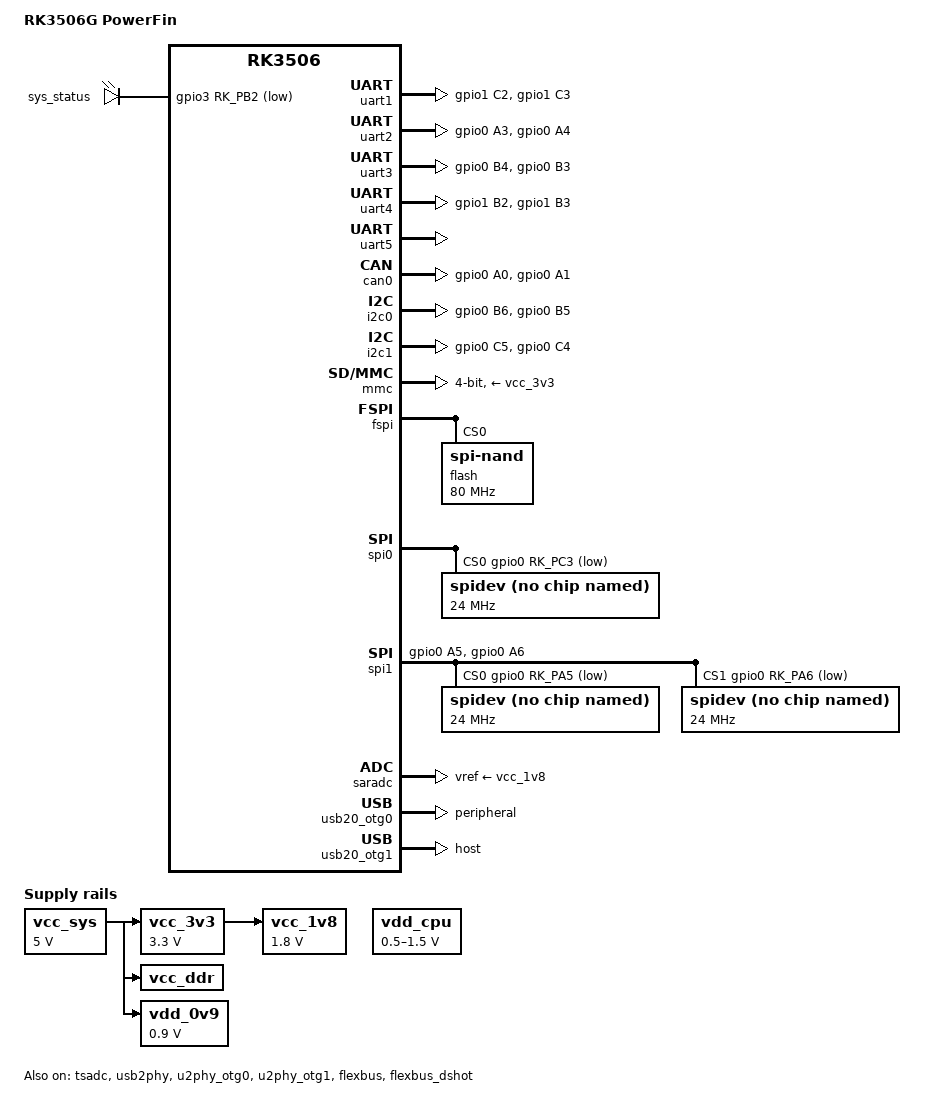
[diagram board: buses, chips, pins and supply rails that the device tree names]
// SPDX-License-Identifier: (GPL-2.0+ OR MIT)
/*
 * Copyright (c) 2024 Rockchip Electronics Co., Ltd.
 *
 * RK3506G PowerFin 飞控板 DTS (SD卡启动)
 *
 * RM_IO pinctrl 编码: func = 15 + RM_IO_index
 * 参考: RK3506_TRM_Part1_V1.2, Table 1-9 RM_IO Function List
 */

/dts-v1/;

#include "rk3506.dtsi"
#include "rk3506-pinctrl.dtsi"
#include <dt-bindings/mfd/rockchip-flexbus.h>
#include <dt-bindings/pinctrl/rockchip.h>
#include <dt-bindings/input/rk-input.h>
#include <dt-bindings/sensor-dev.h>

/ {
	model = "RK3506G PowerFin";
	compatible = "rockchip,rk3506g-powerfin", "rockchip,rk3506";

	chosen {
		bootargs = "earlycon=uart8250,mmio32,0xff0a0000 console=ttyFIQ0 storagemedia=sd root=/dev/mmcblk0p3 rootfstype=ext4 rootwait";
	};

	/* ================================================================
	 * 电源
	 * ================================================================ */
	vcc_sys: vcc-sys {
		compatible = "regulator-fixed";
		regulator-name = "vcc_sys";
		regulator-always-on;
		regulator-boot-on;
		regulator-min-microvolt = <5000000>;
		regulator-max-microvolt = <5000000>;
	};

	vcc_3v3: vcc-3v3 {
		compatible = "regulator-fixed";
		regulator-name = "vcc_3v3";
		regulator-always-on;
		regulator-boot-on;
		regulator-min-microvolt = <3300000>;
		regulator-max-microvolt = <3300000>;
		vin-supply = <&vcc_sys>;
	};

	vcc_1v8: vcc-1v8 {
		compatible = "regulator-fixed";
		regulator-name = "vcc_1v8";
		regulator-always-on;
		regulator-boot-on;
		regulator-min-microvolt = <1800000>;
		regulator-max-microvolt = <1800000>;
		vin-supply = <&vcc_3v3>;
	};

	vcc_ddr: vcc-ddr {
		compatible = "regulator-fixed";
		regulator-name = "vcc_ddr";
		regulator-always-on;
		regulator-boot-on;
		vin-supply = <&vcc_sys>;
	};

	vdd_0v9: vdd-0v9 {
		compatible = "regulator-fixed";
		regulator-name = "vdd_0v9";
		regulator-always-on;
		regulator-boot-on;
		regulator-min-microvolt = <900000>;
		regulator-max-microvolt = <900000>;
		vin-supply = <&vcc_sys>;
	};

	vdd_cpu: vdd-cpu {
		compatible = "regulator-fixed";
		regulator-name = "vdd_cpu";
		regulator-boot-on;
		regulator-always-on;
		regulator-min-microvolt = <500000>;
		regulator-max-microvolt = <1500000>;
	};

	/* ================================================================
	 * ADC 按键 (SARADC ch1 = Pin62)
	 * ================================================================ */
	adc_keys: adc-keys {
		compatible = "adc-keys";
		io-channels = <&saradc 1>;
		io-channel-names = "buttons";
		keyup-threshold-microvolt = <1800000>;
		poll-interval = <100>;
	};

	/* ================================================================
	 * FIQ Debugger (UART0)
	 * ================================================================ */
	fiq_debugger: fiq-debugger {
		compatible = "rockchip,fiq-debugger";
		rockchip,serial-id = <0>;
		rockchip,wake-irq = <0>;
		rockchip,irq-mode-enable = <1>;
		rockchip,baudrate = <1500000>;	/* Only 115200 and 1500000 */
		interrupts = <GIC_SPI 115 IRQ_TYPE_LEVEL_HIGH>;
		status = "okay";
	};

	/* ================================================================
	 * LED — GPIO3_B2 (Pin30: LED_SIG), 低电平点亮
	 * ================================================================ */
	leds: leds {
		compatible = "gpio-leds";
		pinctrl-names = "default";
		pinctrl-0 = <&led_sig_pin>;

		status_led: status-led {
			label = "sys_status";
			gpios = <&gpio3 RK_PB2 GPIO_ACTIVE_LOW>;
			linux,default-trigger = "heartbeat";
		};
	};
};

/* ====================================================================
 * CPU
 * ==================================================================== */
&cpu0 {
	cpu-supply = <&vdd_cpu>;
	status = "okay";
};

/* ====================================================================
 * UART0 — 控制台 (Pin123: UART0_RX / Pin124: UART0_TX)
 * 直接功能: GPIO0_C7 func=1 / GPIO0_C6 func=1
 * ==================================================================== */
/* UART0 pin mux — 参考 Luckfox Lyra, pinctrl 由 fiq-debugger 自行处理 */
&uart0 {
	status = "disabled";
};

/* ====================================================================
 * UART1 (Pin106: GPIO1_C2_d=RM_IO27→UART1_RX / Pin107: GPIO1_C3_d=RM_IO28→UART1_TX)
 * RM_IO: UART1_RX idx=2, UART1_TX idx=1
 * ==================================================================== */
&uart1 {
	pinctrl-names = "default";
	pinctrl-0 = <&uart1_rm_pins>;
	status = "okay";
};

/* ====================================================================
 * UART2 (Pin18: GPIO0_A3_d=RM_IO3→UART2_RX / Pin17: GPIO0_A4_d=RM_IO4→UART2_TX)
 * RM_IO: UART2_RX idx=4, UART2_TX idx=3
 * ==================================================================== */
&uart2 {
	pinctrl-names = "default";
	pinctrl-0 = <&uart2_rm_pins>;
	status = "okay";
};

/* ====================================================================
 * UART3 (Pin6: GPIO0_B4_d=RM_IO12→UART3_RX / Pin7: GPIO0_B3_d=RM_IO11→UART3_TX)
 * RM_IO: UART3_RX idx=6, UART3_TX idx=5
 * ⚠️ Pin40/41 (SD_D3/D2) 也与 UART3_RX/TX 共享网络，不要同时使能
 * ==================================================================== */
&uart3 {
	pinctrl-names = "default";
	pinctrl-0 = <&uart3_rm_pins>;
	status = "okay";
};

/* ====================================================================
 * UART4 (Pin97: GPIO1_B2_d=RM_IO25→UART4_RX / Pin98: GPIO1_B3_d=RM_IO26→UART4_TX)
 * RM_IO: UART4_RX idx=10, UART4_TX idx=9
 * ==================================================================== */
&uart4 {
	pinctrl-names = "default";
	pinctrl-0 = <&uart4_rm_pins>;
	status = "okay";
};

/* ====================================================================
 * UART5 (Pin29: GPIO3_B3→UART5_RX_M0 / Pin28: GPIO3_B4→UART5_TX_M0)
 * 直接功能: GPIO3_B3/B4 func=1
 * ==================================================================== */
&uart5 {
	pinctrl-names = "default";
	pinctrl-0 = <&uart5m0_xfer_pins>;
	status = "okay";
};

/* ====================================================================
 * CAN0 (Pin21: GPIO0_A0_u=RM_IO0→CAN0_TX / Pin20: GPIO0_A1_d=RM_IO1→CAN0_RX)
 * RM_IO: CAN0_TX idx=28, CAN0_RX idx=29
 * ==================================================================== */
&can0 {
	pinctrl-names = "default";
	pinctrl-0 = <&can0_rm_pins>;
	status = "okay";
};

/* ====================================================================
 * I2C0 (Pin4: GPIO0_B6_d=RM_IO14→I2C0_SDA / Pin5: GPIO0_B5_d=RM_IO13→I2C0_SCL)
 * RM_IO: I2C0_SDA idx=16, I2C0_SCL idx=15
 * ==================================================================== */
&i2c0 {
	pinctrl-names = "default";
	pinctrl-0 = <&i2c0_rm_pins>;
	status = "okay";
};

/* ====================================================================
 * I2C1 (Pin125: GPIO0_C5_z=RM_IO21→I2C1_SDA / Pin126: GPIO0_C4_d=RM_IO20→I2C1_SCL)
 * RM_IO: I2C1_SDA idx=18, I2C1_SCL idx=17
 * ==================================================================== */
&i2c1 {
	pinctrl-names = "default";
	pinctrl-0 = <&i2c1_rm_pins>;
	status = "okay";
};

/* ====================================================================
 * I2C2 — 未使用（原 Lyra 触摸屏，本板改为 CAN0）
 * ==================================================================== */
&i2c2 {
	status = "disabled";
};

/* ====================================================================
 * SDMMC — SD 卡 (Pin35-38,40,41)
 * ⚠️ SD_CD (Pin101 GPIO1_B6) 和 SD_PWREN (Pin102 GPIO1_B7) 硬件 NC
 * ==================================================================== */
&mmc {
	max-frequency = <52000000>;
	bus-width = <4>;
	no-sdio;
	no-mmc;
	cap-mmc-highspeed;
	cap-sd-highspeed;
	disable-wp;
	pinctrl-names = "default";
	pinctrl-0 = <&sdmmc_clk_pins &sdmmc_cmd_pins &sdmmc_bus4_pins>;
	vqmmc-supply = <&vcc_3v3>;
	vmmc-supply = <&vcc_3v3>;
	status = "okay";
};

/* ====================================================================
 * FSPI — SPI Flash (Pin53 FSPI_D3 / Pin54 FSPI_CLK / Pin55 FSPI_D0 /
 *                     Pin57 FSPI_D2 / Pin58 FSPI_D1 / Pin59 FSPI_CSN)
 * ==================================================================== */
&fspi {
	status = "okay";
	pinctrl-names = "default";
	pinctrl-0 = <&fspi_bus4_pins &fspi_clk_pins &fspi_csn_pins>;

	flash@0 {
		compatible = "spi-nand";
		reg = <0>;
		spi-max-frequency = <80000000>;
		spi-rx-bus-width = <4>;
		spi-tx-bus-width = <1>;
	};
};

/* ====================================================================
 * SPI0 — IMU (Pin1 SPI0_MOSI / Pin2 SPI0_SCK / Pin128 SPI0_MISO / Pin127 SPI0_CS)
 * 直接功能: GPIO0_C0-C3 func=1
 * IMU_INT: Pin3 GPIO0_B7 用作 GPIO 输入中断
 * ==================================================================== */
&spi0 {
	status = "okay";
	pinctrl-names = "default";
	pinctrl-0 = <&spi0_clk_pins &spi0_csn0_pins>;
	cs-gpios = <&gpio0 RK_PC3 GPIO_ACTIVE_LOW>;	/* Pin127 SPI0_CSN0 */
	num-cs = <1>;

	spidev@0 {
		compatible = "rockchip,spidev";
		reg = <0>;
		spi-max-frequency = <24000000>;
		status = "okay";
	};
};

/* ====================================================================
 * SPI1 (Pin12 SPI1_SCLK / Pin13 SPI1_MISO / Pin14 SPI1_MOSI /
 *       Pin15 SPI1_CS1 / Pin16 SPI1_CS0)
 * 直接功能: GPIO0_A5-A7,B0-B1 func=1
 * ==================================================================== */
&spi1 {
	status = "okay";
	pinctrl-names = "default";
	pinctrl-0 = <&rm_io9_spi1_clk &rm_io8_spi1_miso
		     &rm_io7_spi1_mosi &spi1_gpio_cs_pins>;
	cs-gpios = <&gpio0 RK_PA5 GPIO_ACTIVE_LOW>,	/* Pin16 SPI1_CSN0 */
		   <&gpio0 RK_PA6 GPIO_ACTIVE_LOW>;	/* Pin15 SPI1_CSN1 */
	num-cs = <2>;

	spidev@0 {
		compatible = "rockchip,spidev";
		reg = <0>;
		spi-max-frequency = <24000000>;
		status = "okay";
	};

	spidev@1 {
		compatible = "rockchip,spidev";
		reg = <1>;
		spi-max-frequency = <24000000>;
		status = "okay";
	};
};

/* ====================================================================
 * SARADC
 * CH0 = Pin63 SARADC_IN0, CH1 = Pin62 SARADC_IN1 (ADC按键)
 * CH2 = Pin61 SARADC_IN2 = CURR_ADC (电流检测), CH3 = Pin60 = NC
 * ==================================================================== */
&saradc {
	vref-supply = <&vcc_1v8>;
	status = "okay";
};

/* ====================================================================
 * TSADC — 温度传感器
 * rm_io21_wdt_tsadc_shut: GPIO0_C5 func=92 (WDT_TSADC_SHUT idx=77, 15+77=92)
 * ==================================================================== */
&tsadc {
	status = "okay";
};

/* ====================================================================
 * USB OTG0 — Device (Pin71: OTG0_DN / Pin72: OTG0_DP)
 * USB OTG1 — Host   (Pin73: OTG1_DN / Pin74: OTG1_DP)
 * ==================================================================== */
&usb20_otg0 {
	dr_mode = "peripheral";
	status = "okay";
};

&usb20_otg1 {
	dr_mode = "host";
	status = "okay";
};

&usb2phy {
	status = "okay";
};

&u2phy_otg0 {
	status = "okay";
};

&u2phy_otg1 {
	status = "okay";
};

/* ====================================================================
 * PWM 电机输出
 * M1_OUT: Pin89  GPIO1_A3_d  M2_OUT: Pin88  GPIO1_A2_d
 * M3_OUT: Pin84  GPIO1_A1_d  M4_OUT: Pin83  GPIO1_A0_d
 * (GPIO1_A0-A3 非 RM_IO，使用 GPIO 模式或 FLEXBUS1_D0-D3)
 * TODO: 确认 PWM 外设通道，此处暂配为 GPIO 输出
 * ==================================================================== */

/* ====================================================================
 * FlexBUS DShot — 4 通道同步输出
 * ch0..ch3 = flexbus0_d0..d3
 *
 * 注意: FlexBUS1_D0-D3 是 RX-only，不能用于 DShot 输出。
 * ==================================================================== */
&flexbus {
	rockchip,flexbus0-opmode = <ROCKCHIP_FLEXBUS0_OPMODE_DSHOT>;
	rockchip,flexbus1-opmode = <ROCKCHIP_FLEXBUS1_OPMODE_NULL>;
	status = "okay";
};

&flexbus_dshot {
	pinctrl-names = "default";
	pinctrl-0 = <&flexbus0_d0_pins &flexbus0_d1_pins
		     &flexbus0_d2_pins &flexbus0_d3_pins>;
	rockchip,dshot-rate = <600000>;
	rockchip,dshot-polarity = "invert";
	status = "okay";
};

/* ====================================================================
 * 禁用未使用外设
 * ==================================================================== */
&dsi {          /* MIPI DSI — Pin77-82 全部 NC */
	status = "disabled";
};

&dsi_dphy {
	status = "disabled";
};

&gmac1 {        /* ETH RMII0 — Pin42-50 全部 NC */
	status = "disabled";
};

&mdio1 {
	status = "disabled";
};

&route_dsi {
	status = "disabled";
};

&vop {
	status = "disabled";
};

&display_subsystem {
	status = "disabled";
};

/* ====================================================================
 * Pinctrl — 自定义引脚
 *
 * RM_IO 编码: func = 15 + RM_IO_function_index (参见 TRM Table 1-9)
 * ├── GPIO0 系列: RM_IO func code 用于 RM_IO 路由
 * └── GPIO1 系列(B1/B2/B3/C2/C3/D1/D2/D3): 同样适用
 *
 * 非 RM_IO 引脚 (GPIO1_A0-A3): 使用直接功能码或 GPIO 模式
 * ==================================================================== */
&pinctrl {
	/* ---- UART1: RM_IO27(RX idx=2→func=17) + RM_IO28(TX idx=1→func=16) ---- */
	uart1 {
		uart1_rm_pins: uart1-rm-pins {
			rockchip,pins =
				<1 RK_PC2 17 &pcfg_pull_up>,	/* GPIO1_C2=RM_IO27 → UART1_RX */
				<1 RK_PC3 16 &pcfg_pull_up>;	/* GPIO1_C3=RM_IO28 → UART1_TX */
		};
	};

	/* ---- UART2: RM_IO3(RX idx=4→func=19) + RM_IO4(TX idx=3→func=18) ---- */
	uart2 {
		uart2_rm_pins: uart2-rm-pins {
			rockchip,pins =
				<0 RK_PA3 19 &pcfg_pull_up>,	/* GPIO0_A3=RM_IO3 → UART2_RX */
				<0 RK_PA4 18 &pcfg_pull_up>;	/* GPIO0_A4=RM_IO4 → UART2_TX */
		};
	};

	/* ---- UART3: RM_IO12(RX idx=6→func=21) + RM_IO11(TX idx=5→func=20) ---- */
	uart3 {
		uart3_rm_pins: uart3-rm-pins {
			rockchip,pins =
				<0 RK_PB4 21 &pcfg_pull_up>,	/* GPIO0_B4=RM_IO12 → UART3_RX */
				<0 RK_PB3 20 &pcfg_pull_up>;	/* GPIO0_B3=RM_IO11 → UART3_TX */
		};
	};

	/* ---- UART4: RM_IO25(RX idx=10→func=25) + RM_IO26(TX idx=9→func=24) ---- */
	uart4 {
		uart4_rm_pins: uart4-rm-pins {
			rockchip,pins =
				<1 RK_PB2 25 &pcfg_pull_up>,	/* GPIO1_B2=RM_IO25 → UART4_RX */
				<1 RK_PB3 24 &pcfg_pull_up>;	/* GPIO1_B3=RM_IO26 → UART4_TX */
		};
	};

	/* ---- CAN0: RM_IO0(TX idx=28→func=43) + RM_IO1(RX idx=29→func=44) ---- */
	can0 {
		can0_rm_pins: can0-rm-pins {
			rockchip,pins =
				<0 RK_PA0 43 &pcfg_pull_none>,	/* GPIO0_A0=RM_IO0 → CAN0_TX */
				<0 RK_PA1 44 &pcfg_pull_none>;	/* GPIO0_A1=RM_IO1 → CAN0_RX */
		};
	};

	/* ---- I2C0: RM_IO14(SDA idx=16→func=31) + RM_IO13(SCL idx=15→func=30) ---- */
	i2c0 {
		i2c0_rm_pins: i2c0-rm-pins {
			rockchip,pins =
				<0 RK_PB6 31 &pcfg_pull_up>,	/* GPIO0_B6=RM_IO14 → I2C0_SDA */
				<0 RK_PB5 30 &pcfg_pull_up>;	/* GPIO0_B5=RM_IO13 → I2C0_SCL */
		};
	};

	/* ---- I2C1: RM_IO21(SDA idx=18→func=33) + RM_IO20(SCL idx=17→func=32) ---- */
	i2c1 {
		i2c1_rm_pins: i2c1-rm-pins {
			rockchip,pins =
				<0 RK_PC5 33 &pcfg_pull_up>,	/* GPIO0_C5=RM_IO21 → I2C1_SDA */
				<0 RK_PC4 32 &pcfg_pull_up>;	/* GPIO0_C4=RM_IO20 → I2C1_SCL */
		};
	};

	/* ---- SPI1 GPIO CS: 避免通用 spi1_csn0_pins 占用 GPIO0_B6/RM_IO14 ---- */
	spi1 {
		spi1_gpio_cs_pins: spi1-gpio-cs-pins {
			rockchip,pins =
				<0 RK_PA5 RK_FUNC_GPIO &pcfg_pull_up>,	/* Pin16 SPI1_CSN0 */
				<0 RK_PA6 RK_FUNC_GPIO &pcfg_pull_up>;	/* Pin15 SPI1_CSN1 */
		};
	};

	/* ---- IMU 中断 (Pin3: GPIO0_B7_d = RM_IO15 → 用作 GPIO 输入) ---- */
	imu {
		imu_int_pin: imu-int-pin {
			rockchip,pins =
				<0 RK_PB7 RK_FUNC_GPIO &pcfg_pull_up>;
		};
	};

	/* ---- LED_SIG (Pin30: GPIO3_B2_d) ---- */
	led_sig {
		led_sig_pin: led-sig-pin {
			rockchip,pins =
				<3 RK_PB2 RK_FUNC_GPIO &pcfg_pull_none>;
		};
	};

	/* ---- 电机输出 M1-M4 (GPIO1_A0-A3, 非RM_IO引脚, GPIO模式) ---- */
	motor {
		motor_out_pins: motor-out-pins {
			rockchip,pins =
				<1 RK_PA0 RK_FUNC_GPIO &pcfg_pull_none>,	/* Pin83  M4_OUT */
				<1 RK_PA1 RK_FUNC_GPIO &pcfg_pull_none>,	/* Pin84  M3_OUT */
				<1 RK_PA2 RK_FUNC_GPIO &pcfg_pull_none>,	/* Pin88  M2_OUT */
				<1 RK_PA3 RK_FUNC_GPIO &pcfg_pull_none>;	/* Pin89  M1_OUT */
		};
	};

	/* ---- SBUS (Pin15/16 SPI1_CS0/CS1 也可作 UART) ---- */

	/* ---- TSADC ---- */
	tsadc {
		wdt_tsadc_gpio: wdt-tsadc-gpio {
			rockchip,pins =
				<0 RK_PC5 RK_FUNC_GPIO &pcfg_pull_none>;
		};
	};
};
